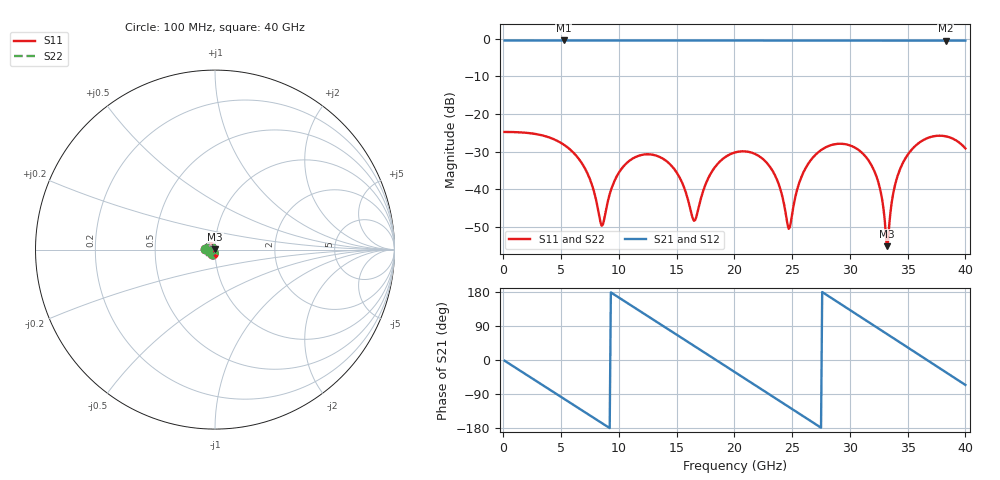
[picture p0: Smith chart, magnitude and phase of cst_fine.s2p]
! T_ts6_ms_10: Microstrip L1, ThunderScope stack, w 0.265 mm, 10 mm
! stackup: ThunderScope Rev5.3 6-layer (FR408HR / FR-4, from the board file)
! ports: 1 near A, 2 far A
! CST Studio Suite 2025.5 Release from 2025-05-30, time domain (FIT, hexahedral, PBA), 223839 mesh cells, 41 s
! mesh: {'lpw': 30.0, 'lpb': 30.0, 'minstep': 0.0, 'ratio': 20}; ports: port 1 (face); port 2 (face)
! interpolated from CST's 1001 samples to the case grid
# Hz S RI R 50
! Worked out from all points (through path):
!   400 points, 100 MHz to 40 GHz, reference 50 ohm
!   highest |S21| = -0.52 dB at 5.2 GHz (marker M1); lowest = -0.6 dB at 38.3 GHz (marker M2)
!   group delay of S21, straight-line fit = 54.6 ps
!   lowest |S11| = -55.0 dB at 33.2 GHz (marker M3), VSWR 1.00, Z = 50 + j0.175 ohm
!   |S11| at or under -10 dB: start of sweep to end of sweep
!   |S22| runs from -55.0 to -24.8 dB; largest |S21 - S12| = 2.8e-07
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1e8  -0.0578 0.000952  0.9416 -0.0321  0.9416 -0.0321  -0.0578 0.000952
2.9e9  -0.0466 0.0272  0.5186 -0.7867  0.5186 -0.7867  -0.0466 0.0272
5.2e9  -0.0184 0.0349  -0.1883 -0.9234  -0.1883 -0.9234  -0.0184 0.0349
6.8e9  0.000228 0.0221  -0.6402 -0.6914  -0.6402 -0.6914  0.000228 0.0221
8.5e9  0.00322 -0.000765  -0.9139 -0.2275  -0.9139 -0.2275  0.00322 -0.000765
1.03e10  -0.0132 -0.0143  -0.8776 0.3403  -0.8776 0.3403  -0.0132 -0.0143
1.34e10  -0.0263 0.00782  -0.1341 0.9316  -0.1341 0.9316  -0.0263 0.00782
1.52e10  -0.00778 0.0127  0.4283 0.8382  0.4283 0.8382  -0.00778 0.0127
1.65e10  0.00347 0.00167  0.7471 0.5722  0.7471 0.5722  0.00347 0.00167
1.8e10  0.0014 -0.0167  0.9313 0.1314  0.9313 0.1314  0.0014 -0.0167
2.01e10  -0.0214 -0.0226  0.7869 -0.5138  0.7869 -0.5138  -0.0214 -0.0226
2.31e10  -0.0187 0.00627  -0.0336 -0.9395  -0.0336 -0.9395  -0.0187 0.00627
2.47e10  0.00175 0.00245  -0.5194 -0.7836  -0.5194 -0.7836  0.00175 0.00245
2.67e10  0.0066 -0.0246  -0.898 -0.2756  -0.898 -0.2756  0.0066 -0.0246
2.88e10  -0.0199 -0.0347  -0.8553 0.3861  -0.8553 0.3861  -0.0199 -0.0347
3.13e10  -0.0276 -0.0041  -0.2652 0.9003  -0.2652 0.9003  -0.0276 -0.0041
3.26e10  -0.00947 0.00412  0.1513 0.9265  0.1513 0.9265  -0.00947 0.00412
3.32e10  0.000288 0.00175  0.3387 0.8756  0.3387 0.8756  0.000288 0.00175
3.34e10  0.00329 6.29e-05  0.3983 0.8501  0.3983 0.8501  0.00329 6.3e-05
3.49e10  0.0152 -0.0227  0.7667 0.5408  0.7667 0.5408  0.0152 -0.0227
3.83e10  -0.0295 -0.0411  0.7935 -0.4978  0.7935 -0.4978  -0.0295 -0.0411
4e10  -0.0327 -0.0123  0.384 -0.8547  0.384 -0.8547  -0.0327 -0.0123
